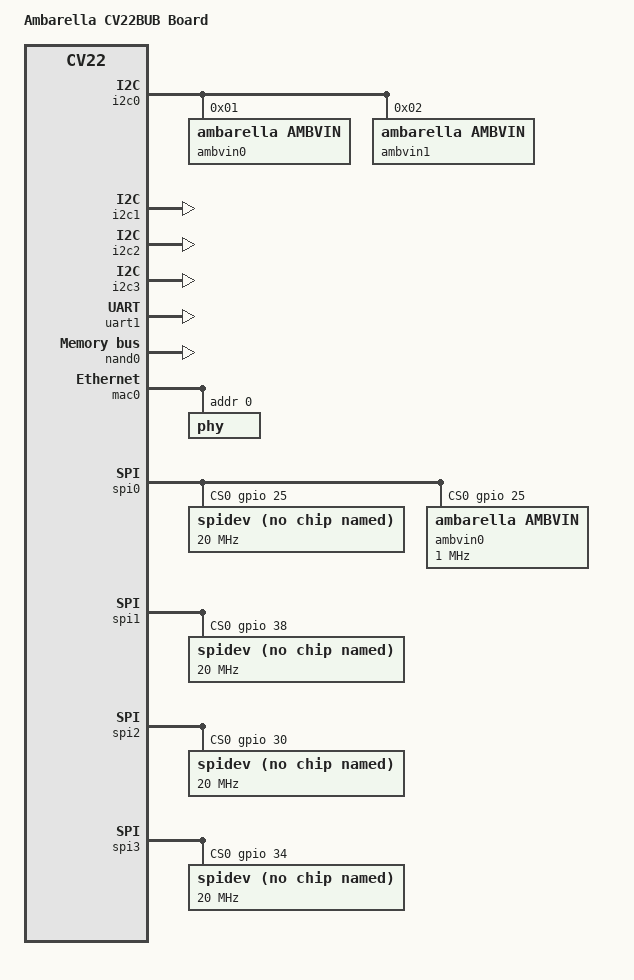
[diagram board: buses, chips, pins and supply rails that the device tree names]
/*
 * board level device tree source
 */

/dts-v1/;

/include/ "cv22.dtsi"

/ {
    model = "Ambarella CV22BUB Board";
    compatible = "ambarella,cv22bub", "ambarella,cv22";

    chosen {
        stdout-path = &uart0;
        #address-cells = <1>;
        #size-cells = <1>;
        xen,xen-bootargs = "dom0_mem=256M bootscrub=0 dom0_max_vcpus=1 dom0_vcpus_pin timer_slop=0";
        module@0 {
            compatible = "xen,linux-zimage", "xen,multiboot-module";
            reg = <0x0 0x0>;
            bootargs = "root=/dev/mtdblock21 rootfstype=squashfs rdinit=/sbin/init console=hvc0 earlycon=xenboot quiet";
        };

        domu_tx {
            #address-cells = <1>;
            #size-cells = <1>;
            compatible = "xen,domain";
            memory = <0x0 0x0>;
            cpus = <1>;

            module@0 {
                compatible = "multiboot,kernel", "multiboot,module";
                reg = <0x0 0x0>;
            };
        };

    };

    n_apb@e4000000 {
        i2c0: i2c@e4008000 {
            status = "ok";

            ambvin0@01 {
                compatible = "ambarella,ambvin";
                reg = <0x01>;   /* fake address, will be overwritten in runtime */
            };

            ambvin1@02 {
                compatible = "ambarella,ambvin";
                reg = <0x02>;   /* fake address, will be overwritten in runtime */
            };
        };

        i2c1: i2c@e4009000 {
            status = "ok";
        };

        i2c2: i2c@e400a000 {
            status = "ok";
        };

        i2c3: i2c@e400b000 {
            status = "ok";
        };
    };

    n_ahb@e0000000 {
        uart1: uart@e0017000 {
            /delete-property/amb,txdma-used;
            /delete-property/amb,rxdma-used;
            /delete-property/dmas;
            /delete-property/dma-names;
            status = "ok";
        };

        nand0: nand@e0002000 {
            status = "ok";
        };

        sdmmc0: sdmmc0@e0004000 {
            pwr-gpios = <&gpio 109 0x1>;
            v18-gpios = <&gpio 156 0x1>;
        };

        sdmmc2: sdmmc2@e0005000 {
            pwr-gpios = <&gpio 110 0x1>;
            v18-gpios = <&gpio 157 0x1>;
            status = "disabled";
        };

        mac0: ethernet@e000e000 {
            amb,tx-clk-invert;
            phy@0 {
                reg = <0>;
            };
        };

        spi0: spi@e0011000 {
            status = "ok";
            cs-gpios = <&gpio 25 0>;

            spidev@0 {
                compatible = "spidev";
                spi-max-frequency = <20000000>;
                reg = <0>;
            };

            ambvin0@0 {
                compatible = "ambarella,ambvin";
                reg = <0>;
                spi-max-frequency = <1000000>;
                spi-cpha;
                spi-cpol;
            };
        };

        spi1: spi@e0012000 {
            status = "ok";
            cs-gpios = <&gpio 38 0>;

            spidev@0 {
                compatible = "spidev";
                spi-max-frequency = <20000000>;
                reg = <0>;
            };
        };

        spi2: spi@e0013000 {
            status = "ok";
            cs-gpios = <&gpio 30 0>;

            spidev@0 {
                compatible = "spidev";
                spi-max-frequency = <20000000>;
                reg = <0>;
            };
        };

        spi3: spi@e0014000 {
            status = "ok";
            cs-gpios = <&gpio 34 0>;

            spidev@0 {
                compatible = "spidev";
                spi-max-frequency = <20000000>;
                reg = <0>;
            };
        };

        hdmi@e000b000 {
            amb,i2c-adapter = <2>;
        };
    };
    /delete-node/ iav;
    /delete-node/ bogus_bus;
};
